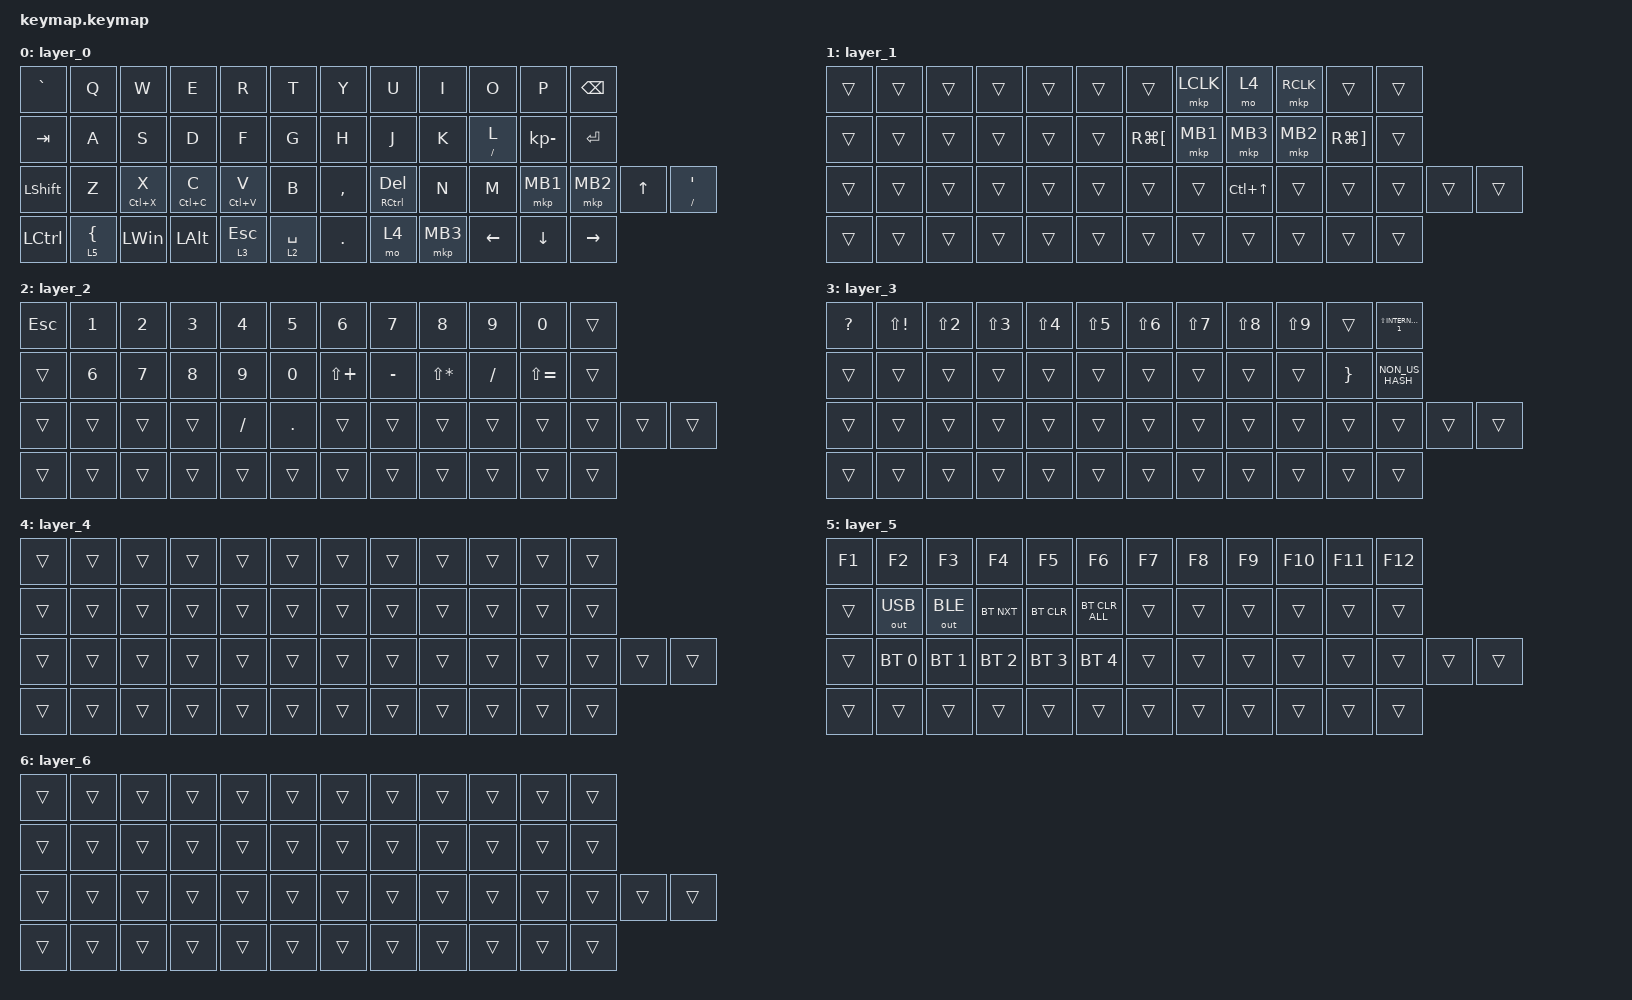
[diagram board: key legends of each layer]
#include <behaviors.dtsi>
#include <dt-bindings/zmk/bt.h>
#include <dt-bindings/zmk/keys.h>
#include <dt-bindings/zmk/outputs.h>
#include <dt-bindings/zmk/pointing.h>

/ {
    combos {
        compatible = "zmk,combos";

        bt_clear {
            bindings = <&bt BT_CLR>;
            key-positions = <28 29>;
            layers = <2>;
        };
    };

    keymap {
        compatible = "zmk,keymap";

        layer_0 {
            bindings = <
&kp GRAVE         &kp Q             &kp W         &kp E        &kp R         &kp T        &kp Y       &kp U                  &kp I     &kp O           &kp P           &kp BACKSPACE
&kp TAB           &kp A             &kp S         &kp D        &kp F         &kp G        &kp H       &kp J                  &kp K     &mt SLASH L     &kp KP_MINUS    &kp ENTER
&kp LSHFT         &kp Z             &mt LC(X) X   &mt LC(C) C  &mt LC(V) V   &kp B        &kp COMMA   &mt RIGHT_CONTROL DEL  &kp N     &kp M           &mkp MB1        &mkp MB2         &kp UP  &mt SLASH APOS
&kp LEFT_CONTROL  &lt 5 LEFT_BRACE  &kp LEFT_WIN  &kp LALT     &lt 3 ESCAPE  &lt 2 SPACE  &kp PERIOD  &mo 4                  &mkp MB3  &kp LEFT_ARROW  &kp DOWN_ARROW  &kp RIGHT_ARROW
            >;
        };

        layer_1 {
            bindings = <
&trans  &trans  &trans  &trans  &trans  &trans  &trans                &mkp LCLK  &mo 4             &mkp RCLK  &trans                 &trans
&trans  &trans  &trans  &trans  &trans  &trans  &kp RG(LEFT_BRACKET)  &mkp MB1   &mkp MB3          &mkp MB2   &kp RG(RIGHT_BRACKET)  &trans
&trans  &trans  &trans  &trans  &trans  &trans  &trans                &trans     &kp LC(UP_ARROW)  &trans     &trans                 &trans  &trans  &trans
&trans  &trans  &trans  &trans  &trans  &trans  &trans                &trans     &trans            &trans     &trans                 &trans
            >;
        };

        layer_2 {
            bindings = <
&kp ESCAPE  &kp N1  &kp N2  &kp N3  &kp N4    &kp N5   &kp N6        &kp N7     &kp N8        &kp N9    &kp N0         &trans
&trans      &kp N6  &kp N7  &kp N8  &kp N9    &kp N0   &kp LS(PLUS)  &kp MINUS  &kp LS(STAR)  &kp FSLH  &kp LS(EQUAL)  &trans
&trans      &trans  &trans  &trans  &kp FSLH  &kp DOT  &trans        &trans     &trans        &trans    &trans         &trans  &trans  &trans
&trans      &trans  &trans  &trans  &trans    &trans   &trans        &trans     &trans        &trans    &trans         &trans
            >;
        };

        layer_3 {
            bindings = <
&kp QUESTION  &kp LS(EXCL)  &kp LS(N2)  &kp LS(N3)  &kp LS(N4)  &kp LS(N5)  &kp LS(N6)  &kp LS(N7)  &kp LS(N8)  &kp LS(N9)  &trans           &kp LS(INTERNATIONAL_1)
&trans        &trans        &trans      &trans      &trans      &trans      &trans      &trans      &trans      &trans      &kp RIGHT_BRACE  &kp NON_US_HASH
&trans        &trans        &trans      &trans      &trans      &trans      &trans      &trans      &trans      &trans      &trans           &trans                   &trans  &trans
&trans        &trans        &trans      &trans      &trans      &trans      &trans      &trans      &trans      &trans      &trans           &trans
            >;
        };

        layer_4 {
            bindings = <
&trans  &trans  &trans  &trans  &trans  &trans  &trans  &trans  &trans  &trans  &trans  &trans
&trans  &trans  &trans  &trans  &trans  &trans  &trans  &trans  &trans  &trans  &trans  &trans
&trans  &trans  &trans  &trans  &trans  &trans  &trans  &trans  &trans  &trans  &trans  &trans  &trans  &trans
&trans  &trans  &trans  &trans  &trans  &trans  &trans  &trans  &trans  &trans  &trans  &trans
            >;
        };

        layer_5 {
            bindings = <
&kp F1  &kp F2        &kp F3        &kp F4        &kp F5        &kp F6          &kp F7  &kp F8  &kp F9  &kp F10  &kp F11  &kp F12
&trans  &out OUT_USB  &out OUT_BLE  &bt BT_NXT    &bt BT_CLR    &bt BT_CLR_ALL  &trans  &trans  &trans  &trans   &trans   &trans
&trans  &bt BT_SEL 0  &bt BT_SEL 1  &bt BT_SEL 2  &bt BT_SEL 3  &bt BT_SEL 4    &trans  &trans  &trans  &trans   &trans   &trans   &trans  &trans
&trans  &trans        &trans        &trans        &trans        &trans          &trans  &trans  &trans  &trans   &trans   &trans
            >;
        };

        layer_6 {
            bindings = <
&trans  &trans  &trans  &trans  &trans  &trans  &trans  &trans  &trans  &trans  &trans  &trans
&trans  &trans  &trans  &trans  &trans  &trans  &trans  &trans  &trans  &trans  &trans  &trans
&trans  &trans  &trans  &trans  &trans  &trans  &trans  &trans  &trans  &trans  &trans  &trans  &trans  &trans
&trans  &trans  &trans  &trans  &trans  &trans  &trans  &trans  &trans  &trans  &trans  &trans
            >;
        };
    };
};
